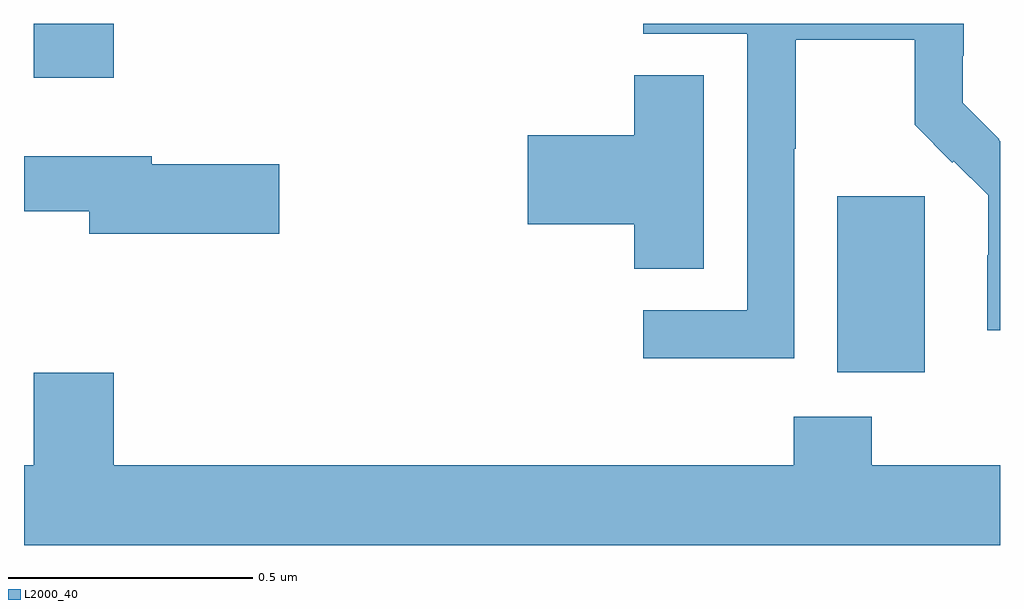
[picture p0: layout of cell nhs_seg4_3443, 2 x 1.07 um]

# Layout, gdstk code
import gdstk
lib = gdstk.Library(unit=1e-6, precision=1e-09)
def R(c, l, rs):  # rectangles x0, y0, x1, y1
    for r in rs: c.add(gdstk.rectangle(r[:2], r[2:], *l))
def P(c, l, *ps):  # polygons
    for p in ps: c.add(gdstk.Polygon(p, *l))
L2000_40 = (2000, 40)

nhs_seg4_3443 = lib.new_cell('nhs_seg4_3443')
R(nhs_seg4_3443, L2000_40, [(154.667,785.186,154.846,785.547), (153.02,785.79,153.184,785.9)])
P(nhs_seg4_3443, L2000_40, [(154.578,785.644),(154.581,785.644),(154.581,785.868),(154.825,785.868),(154.825,785.693),(154.902,785.616),(154.905,785.619),(154.976,785.549),(154.976,785.426),(154.974,785.426),(154.974,785.272),(155,785.272),(155,785.66),(154.997,785.663),(154.998,785.664),(154.924,785.738),(154.924,785.835),(154.926,785.835),(154.926,785.9),(154.269,785.9),(154.269,785.88),(154.482,785.88),(154.482,785.313),(154.269,785.313),(154.269,785.215),(154.578,785.215)],
  [(154.393,785.795),(154.25,785.795),(154.25,785.672),(154.032,785.672),(154.032,785.489),(154.25,785.489),(154.25,785.398),(154.393,785.398)],
  [(153.523,785.612),(153.262,785.612),(153.262,785.629),(153,785.629),(153,785.516),(153.134,785.516),(153.134,785.47),(153.523,785.47)],
  [(155,784.996),(154.737,784.996),(154.737,785.095),(154.577,785.095),(154.577,784.996),(153.184,784.996),(153.184,785.185),(153.02,785.185),(153.02,784.996),(153,784.996),(153,784.832),(155,784.832)])

lib.write_gds('nhs_seg4_3443.gds')
